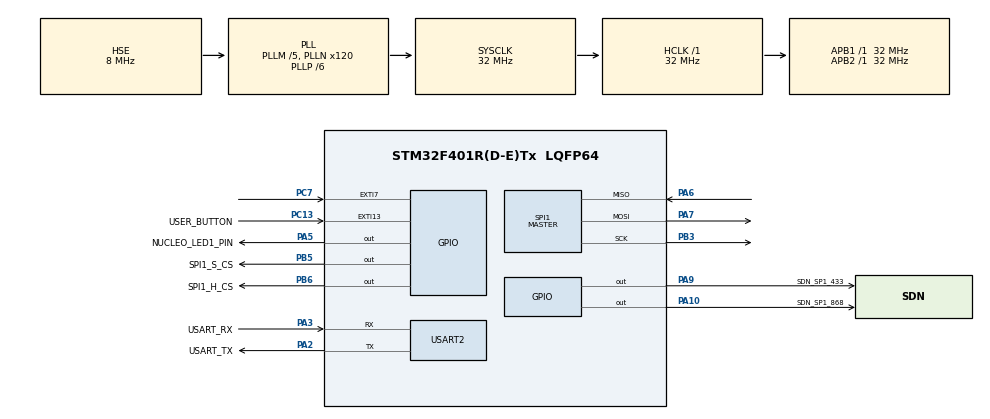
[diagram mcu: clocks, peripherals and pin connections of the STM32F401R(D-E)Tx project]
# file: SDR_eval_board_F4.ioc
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Mcu.Family=STM32F4
Mcu.Name=STM32F401R(D-E)Tx
Mcu.Package=LQFP64
NVIC.EXTI15_10_IRQn=true\:0\:0\:false\:false\:true\:true\:true
NVIC.EXTI9_5_IRQn=true\:0\:0\:false\:false\:true\:true\:true
NVIC.PriorityGroup=NVIC_PRIORITYGROUP_0
NVIC.TIM2_IRQn=true\:0\:0\:false\:false\:true\:true\:true
NVIC.USART2_IRQn=true\:0\:0\:false\:false\:true\:true\:true
PA10.GPIO_Label=SDN_SP1_868
PA10.GPIO_Speed=GPIO_SPEED_FREQ_HIGH
PA10.Signal=GPIO_Output
PA13.GPIO_Label=TMS
PA13.Mode=Serial_Wire
PA13.Signal=SYS_JTMS-SWDIO
PA14.GPIO_Label=TCK
PA14.Mode=Serial_Wire
PA14.Signal=SYS_JTCK-SWCLK
PA2.GPIO_Label=USART_TX
PA2.GPIO_Mode=GPIO_MODE_AF_PP
PA2.GPIO_PuPd=GPIO_NOPULL
PA2.GPIO_Speed=GPIO_SPEED_FREQ_LOW
PA2.Mode=Asynchronous
PA2.Signal=USART2_TX
PA3.GPIO_Label=USART_RX
PA3.GPIO_Mode=GPIO_MODE_AF_PP
PA3.GPIO_PuPd=GPIO_NOPULL
PA3.GPIO_Speed=GPIO_SPEED_FREQ_LOW
PA3.Mode=Asynchronous
PA3.Signal=USART2_RX
PA5.GPIO_Label=NUCLEO_LED1_PIN
PA5.GPIO_Mode=GPIO_MODE_OUTPUT_PP
PA5.GPIO_PuPd=GPIO_NOPULL
PA5.GPIO_Speed=GPIO_SPEED_FREQ_LOW
PA5.Signal=GPIO_Output
PA6.Mode=Full_Duplex_Master
PA6.Signal=SPI1_MISO
PA7.Mode=Full_Duplex_Master
PA7.Signal=SPI1_MOSI
PA9.GPIO_Label=SDN_SP1_433
PA9.Signal=GPIO_Output
PB3.GPIO_PuPd=GPIO_PULLUP
PB3.GPIO_Speed=GPIO_SPEED_FREQ_HIGH
PB3.Mode=Full_Duplex_Master
PB3.Signal=SPI1_SCK
PB5.GPIO_Label=SPI1_S_CS
PB5.GPIO_PuPd=GPIO_PULLUP
PB5.GPIO_Speed=GPIO_SPEED_FREQ_HIGH
PB5.Signal=GPIO_Output
PB6.GPIO_Label=SPI1_H_CS
PB6.GPIO_PuPd=GPIO_PULLUP
PB6.GPIO_Speed=GPIO_SPEED_FREQ_HIGH
PB6.Signal=GPIO_Output
PC13-ANTI_TAMP.GPIO_Label=USER_BUTTON
PC13-ANTI_TAMP.GPIO_ModeDefaultEXTI=GPIO_MODE_IT_FALLING
PC13-ANTI_TAMP.GPIO_PuPd=GPIO_NOPULL
PC13-ANTI_TAMP.Signal=GPXTI13
PC14-OSC32_IN.Mode=LSE-External-Oscillator
PC14-OSC32_IN.Signal=RCC_OSC32_IN
PC15-OSC32_OUT.Mode=LSE-External-Oscillator
PC15-OSC32_OUT.Signal=RCC_OSC32_OUT
PC7.GPIO_ModeDefaultEXTI=GPIO_MODE_IT_FALLING
PC7.Signal=GPXTI7
PH0\ -\ OSC_IN.Mode=HSE-External-Clock-Source
PH0\ -\ OSC_IN.Signal=RCC_OSC_IN
PH1\ -\ OSC_OUT.Mode=HSE-External-Clock-Source
PH1\ -\ OSC_OUT.Signal=RCC_OSC_OUT
ProjectManager.HeapSize=0x200
ProjectManager.StackSize=0x400
ProjectManager.TargetToolchain=STM32CubeIDE
RCC.48MHZClocksFreq_Value=48000000
RCC.AHBFreq_Value=32000000
RCC.APB1Freq_Value=32000000
RCC.APB1TimFreq_Value=32000000
RCC.APB2Freq_Value=32000000
RCC.APB2TimFreq_Value=32000000
RCC.CortexFreq_Value=32000000
RCC.HCLKFreq_Value=32000000
RCC.HSE_VALUE=8000000
RCC.HSI_VALUE=16000000
RCC.PLLM=5
RCC.PLLN=120
RCC.PLLP=RCC_PLLP_DIV6
RCC.PLLSourceVirtual=RCC_PLLSOURCE_HSE
RCC.SYSCLKFreq_VALUE=32000000
RCC.SYSCLKSource=RCC_SYSCLKSOURCE_PLLCLK
RCC.VCOOutputFreq_Value=192000000
SPI1.BaudRatePrescaler=SPI_BAUDRATEPRESCALER_4
SPI1.Direction=SPI_DIRECTION_2LINES
SPI1.Mode=SPI_MODE_MASTER
SPI1.VirtualType=VM_MASTER
TIM2.Period=99
TIM2.Prescaler=31999
USART2.VirtualMode=VM_ASYNC
VP_TIM2_VS_ClockSourceINT.Mode=Internal
board=NUCLEO-F401RE

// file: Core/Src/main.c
/* USER CODE BEGIN Header */
/**
  ******************************************************************************
  * @file           : main.c
  * @brief          : Main program body
  ******************************************************************************
  * @attention
  *
  * <h2><center>&copy; Copyright (c) 2020 STMicroelectronics.
  * All rights reserved.</center></h2>
  *
  * This software component is licensed by ST under BSD 3-Clause license,
  * the "License"; You may not use this file except in compliance with the
  * License. You may obtain a copy of the License at:
  *                        opensource.org/licenses/BSD-3-Clause
  *
  ******************************************************************************
  */
/* USER CODE END Header */
#include "main.h"

/* USER CODE BEGIN Includes */
#include "cube_hal.h"
#include "radio_shield_config.h"
#include "radio_appli.h"

#include "fsm.h"

/*User interface includes*/
#include <stdio.h>
#include "retarget.h"

/* USER CODE END Includes */

SPI_HandleTypeDef hspi1;

TIM_HandleTypeDef htim2;

UART_HandleTypeDef huart2;

/* USER CODE BEGIN PV */
uint32_t Rx_count;

uint8_t RxData[20];
char buf[10];

/* USER CODE END PV */

void SystemClock_Config(void);
static void MX_GPIO_Init(void);
static void MX_USART2_UART_Init(void);
static void MX_SPI1_Init(void);
static void MX_TIM2_Init(void);
/* USER CODE BEGIN PFP */

void Clock_Enable(void);

/* USER CODE END PFP */

int main(void)
{

  /* MCU Configuration--------------------------------------------------------*/

  /* Reset of all peripherals, Initializes the Flash interface and the Systick. */
  HAL_Init();

  /* USER CODE BEGIN Init */
  Clock_Enable();

  /* USER CODE END Init */

  /* Configure the system clock */
  SystemClock_Config();

  /* Initialize all configured peripherals */
  MX_GPIO_Init();
  MX_USART2_UART_Init();
  MX_SPI1_Init();
  MX_TIM2_Init();
  /* USER CODE BEGIN 2 */

  /* Initialize LEDs*/
#if defined(X_NUCLEO_IDS01A4) || defined(X_NUCLEO_IDS01A5)
  RadioShieldLedInit(RADIO_SHIELD_LED);
#endif
  BSP_LED_Init(LED2);
  HAL_Radio_Init();
  APP_Init();
  HAL_TIM_OC_Start_IT(&htim2,0);

  RetargetInit(&huart2);
  HAL_UART_Receive_IT(&huart2, RxData, 1);

  printf("\r\nDispositivo SDR preparado\r\n");
  printf("\r\nPara enviar un mensaje pulse cualquier tecla\r\n");
  /* USER CODE END 2 */

  /* Infinite loop */
  while (1)
  {

    /* USER CODE BEGIN 3 */
	APP_Process();
  }
  /* USER CODE END 3 */
}

void SystemClock_Config(void)
{
  RCC_OscInitTypeDef RCC_OscInitStruct = {0};
  RCC_ClkInitTypeDef RCC_ClkInitStruct = {0};

  /** Configure the main internal regulator output voltage
  */
  __HAL_RCC_PWR_CLK_ENABLE();
  __HAL_PWR_VOLTAGESCALING_CONFIG(PWR_REGULATOR_VOLTAGE_SCALE2);
  /** Initializes the RCC Oscillators according to the specified parameters
  * in the RCC_OscInitTypeDef structure.
  */
  RCC_OscInitStruct.OscillatorType = RCC_OSCILLATORTYPE_HSE;
  RCC_OscInitStruct.HSEState = RCC_HSE_BYPASS;
  RCC_OscInitStruct.PLL.PLLState = RCC_PLL_ON;
  RCC_OscInitStruct.PLL.PLLSource = RCC_PLLSOURCE_HSE;
  RCC_OscInitStruct.PLL.PLLM = 5;
  RCC_OscInitStruct.PLL.PLLN = 120;
  RCC_OscInitStruct.PLL.PLLP = RCC_PLLP_DIV6;
  RCC_OscInitStruct.PLL.PLLQ = 4;
  if (HAL_RCC_OscConfig(&RCC_OscInitStruct) != HAL_OK)
  {
    Error_Handler();
  }
  /** Initializes the CPU, AHB and APB buses clocks
  */
  RCC_ClkInitStruct.ClockType = RCC_CLOCKTYPE_HCLK|RCC_CLOCKTYPE_SYSCLK
                              |RCC_CLOCKTYPE_PCLK1|RCC_CLOCKTYPE_PCLK2;
  RCC_ClkInitStruct.SYSCLKSource = RCC_SYSCLKSOURCE_PLLCLK;
  RCC_ClkInitStruct.AHBCLKDivider = RCC_SYSCLK_DIV1;
  RCC_ClkInitStruct.APB1CLKDivider = RCC_HCLK_DIV1;
  RCC_ClkInitStruct.APB2CLKDivider = RCC_HCLK_DIV1;

  if (HAL_RCC_ClockConfig(&RCC_ClkInitStruct, FLASH_LATENCY_1) != HAL_OK)
  {
    Error_Handler();
  }
}

static void MX_SPI1_Init(void)
{

  /* SPI1 parameter configuration*/
  hspi1.Instance = SPI1;
  hspi1.Init.Mode = SPI_MODE_MASTER;
  hspi1.Init.Direction = SPI_DIRECTION_2LINES;
  hspi1.Init.DataSize = SPI_DATASIZE_8BIT;
  hspi1.Init.CLKPolarity = SPI_POLARITY_LOW;
  hspi1.Init.CLKPhase = SPI_PHASE_1EDGE;
  hspi1.Init.NSS = SPI_NSS_SOFT;
  hspi1.Init.BaudRatePrescaler = SPI_BAUDRATEPRESCALER_4;
  hspi1.Init.FirstBit = SPI_FIRSTBIT_MSB;
  hspi1.Init.TIMode = SPI_TIMODE_DISABLE;
  hspi1.Init.CRCCalculation = SPI_CRCCALCULATION_DISABLE;
  hspi1.Init.CRCPolynomial = 10;
  if (HAL_SPI_Init(&hspi1) != HAL_OK)
  {
    Error_Handler();
  }

}

static void MX_TIM2_Init(void)
{

  TIM_ClockConfigTypeDef sClockSourceConfig = {0};
  TIM_MasterConfigTypeDef sMasterConfig = {0};

  htim2.Instance = TIM2;
  htim2.Init.Prescaler = 31999;
  htim2.Init.CounterMode = TIM_COUNTERMODE_UP;
  htim2.Init.Period = 99;
  htim2.Init.ClockDivision = TIM_CLOCKDIVISION_DIV1;
  htim2.Init.AutoReloadPreload = TIM_AUTORELOAD_PRELOAD_DISABLE;
  if (HAL_TIM_Base_Init(&htim2) != HAL_OK)
  {
    Error_Handler();
  }
  sClockSourceConfig.ClockSource = TIM_CLOCKSOURCE_INTERNAL;
  if (HAL_TIM_ConfigClockSource(&htim2, &sClockSourceConfig) != HAL_OK)
  {
    Error_Handler();
  }
  sMasterConfig.MasterOutputTrigger = TIM_TRGO_RESET;
  sMasterConfig.MasterSlaveMode = TIM_MASTERSLAVEMODE_DISABLE;
  if (HAL_TIMEx_MasterConfigSynchronization(&htim2, &sMasterConfig) != HAL_OK)
  {
    Error_Handler();
  }

}

static void MX_USART2_UART_Init(void)
{

  huart2.Instance = USART2;
  huart2.Init.BaudRate = 115200;
  huart2.Init.WordLength = UART_WORDLENGTH_8B;
  huart2.Init.StopBits = UART_STOPBITS_1;
  huart2.Init.Parity = UART_PARITY_NONE;
  huart2.Init.Mode = UART_MODE_TX_RX;
  huart2.Init.HwFlowCtl = UART_HWCONTROL_NONE;
  huart2.Init.OverSampling = UART_OVERSAMPLING_16;
  if (HAL_UART_Init(&huart2) != HAL_OK)
  {
    Error_Handler();
  }

}

static void MX_GPIO_Init(void)
{
  GPIO_InitTypeDef GPIO_InitStruct = {0};

  /* GPIO Ports Clock Enable */
  __HAL_RCC_GPIOC_CLK_ENABLE();
  __HAL_RCC_GPIOH_CLK_ENABLE();
  __HAL_RCC_GPIOA_CLK_ENABLE();
  __HAL_RCC_GPIOB_CLK_ENABLE();

  /*Configure GPIO pin Output Level */
  HAL_GPIO_WritePin(GPIOA, NUCLEO_LED1_PIN_Pin|SDN_SP1_433_Pin|SDN_SP1_868_Pin, GPIO_PIN_RESET);

  /*Configure GPIO pin Output Level */
  HAL_GPIO_WritePin(GPIOB, SPI1_S_CS_Pin|SPI1_H_CS_Pin, GPIO_PIN_RESET);

  /*Configure GPIO pins : USER_BUTTON_Pin PC7 */
  GPIO_InitStruct.Pin = USER_BUTTON_Pin|GPIO_PIN_7;
  GPIO_InitStruct.Mode = GPIO_MODE_IT_FALLING;
  GPIO_InitStruct.Pull = GPIO_NOPULL;
  HAL_GPIO_Init(GPIOC, &GPIO_InitStruct);

  /*Configure GPIO pins : NUCLEO_LED1_PIN_Pin SDN_SP1_433_Pin */
  GPIO_InitStruct.Pin = NUCLEO_LED1_PIN_Pin|SDN_SP1_433_Pin;
  GPIO_InitStruct.Mode = GPIO_MODE_OUTPUT_PP;
  GPIO_InitStruct.Pull = GPIO_NOPULL;
  GPIO_InitStruct.Speed = GPIO_SPEED_FREQ_LOW;
  HAL_GPIO_Init(GPIOA, &GPIO_InitStruct);

  /*Configure GPIO pin : SDN_SP1_868_Pin */
  GPIO_InitStruct.Pin = SDN_SP1_868_Pin;
  GPIO_InitStruct.Mode = GPIO_MODE_OUTPUT_PP;
  GPIO_InitStruct.Pull = GPIO_NOPULL;
  GPIO_InitStruct.Speed = GPIO_SPEED_FREQ_HIGH;
  HAL_GPIO_Init(SDN_SP1_868_GPIO_Port, &GPIO_InitStruct);

  /*Configure GPIO pins : SPI1_S_CS_Pin SPI1_H_CS_Pin */
  GPIO_InitStruct.Pin = SPI1_S_CS_Pin|SPI1_H_CS_Pin;
  GPIO_InitStruct.Mode = GPIO_MODE_OUTPUT_PP;
  GPIO_InitStruct.Pull = GPIO_PULLUP;
  GPIO_InitStruct.Speed = GPIO_SPEED_FREQ_HIGH;
  HAL_GPIO_Init(GPIOB, &GPIO_InitStruct);

  /* EXTI interrupt init*/
  HAL_NVIC_SetPriority(EXTI9_5_IRQn, 0, 0);
  HAL_NVIC_EnableIRQ(EXTI9_5_IRQn);

  HAL_NVIC_SetPriority(EXTI15_10_IRQn, 0, 0);
  HAL_NVIC_EnableIRQ(EXTI15_10_IRQn);

}

/* USER CODE BEGIN 4 */
void Clock_Enable(void)
{
  __GPIOA_CLK_ENABLE();
  __GPIOB_CLK_ENABLE();
  __GPIOC_CLK_ENABLE();
  __GPIOD_CLK_ENABLE();
}

void handle_TIM2(void)
{
	Rx_count++;
}

FlagStatus check_Rx_count(void)
{
	FlagStatus retval = RESET;
	if(Rx_count >= 100) //Debug value 100 for 10 secs. Final value 10000 for 10 secs.
	{
		retval = SET;
		Rx_count = 0;
	}
	return retval;
}

FlagStatus check_Tx_count(void)
{
	FlagStatus retval = RESET;
	if(Rx_count >= 50) //Debug value 100 for 10 secs. Final value 10000 for 10 secs.
	{
		retval = SET;
		Rx_count = 0;
	}
	return retval;
}

void reset_RX_count(void)
{
	Rx_count = 0;
}

/* USER CODE END 4 */

void Error_Handler(void)
{
}

/************************ (C) COPYRIGHT STMicroelectronics *****END OF FILE****/
